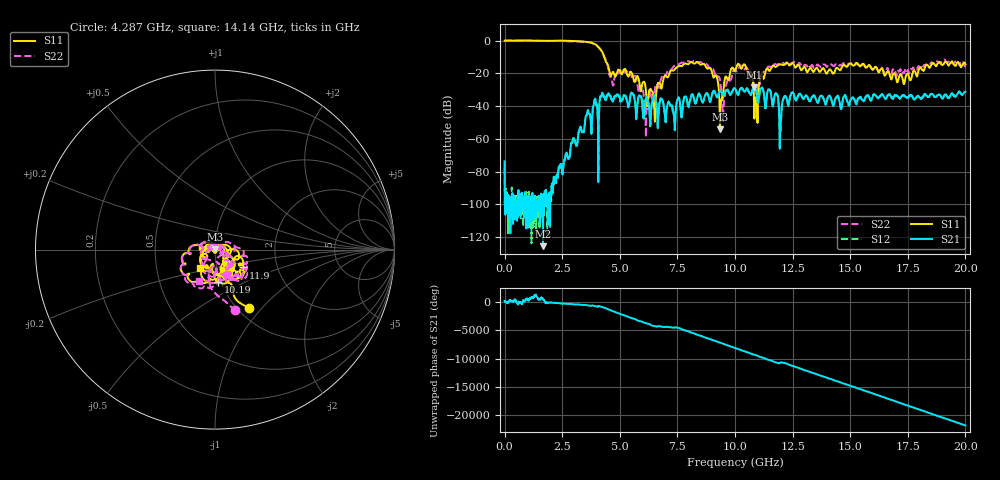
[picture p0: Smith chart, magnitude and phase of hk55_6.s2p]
#  HZ  S  RI  R  50.00
! Rohde & Schwarz Vector Network Analyzer
! Rohde-Schwarz,ZNB20-2Port,1311601062102128,3.60
! Created: UTC 4/29/2024, 3:44:41 PM
! freq[Hz]  re:S11  im:S11  re:S21  im:S21  re:S12  im:S12  re:S22  im:S22
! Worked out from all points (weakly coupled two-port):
!   2007 points, 100 kHz to 20 GHz, reference 50 ohm
!   highest |S21| = -28.47 dB at 10.83 GHz (marker M1); lowest = -125.6 dB at 1.665 GHz (marker M2)
!   lowest |S11| = -54.3 dB at 9.342 GHz (marker M3), VSWR 1.00, Z = 50.1 + j0.168 ohm
!   |S11| at or under -10 dB: 4.327 GHz to end of sweep
!   |S22| runs from -59.0 to 0.1 dB; largest |S21 - S12| = 0.0019
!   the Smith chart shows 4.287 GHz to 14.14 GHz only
!   S11 on the Smith chart (normalised r, x): 4.287 GHz: 1.13, -0.86; 10.19 GHz: 0.97, -0.36; 11.9 GHz: 1.34, -0.28; 14.14 GHz: 0.83, -0.17
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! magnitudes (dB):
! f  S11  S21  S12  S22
! 100 kHz  0.0  -73.8  -77.5  0.1
! 1.665 GHz  -0.1  -125.6  -93.9  -0.2
! 2.463 GHz  0.0  -76.0  -75.7  -0.3
! 3.34 GHz  -0.6  -55.3  -55.1  -0.6
! 4.287 GHz  -8.5  -33.3  -33.4  -8.9
! 4.656 GHz  -20.2  -35.7  -35.7  -23.6
! 5.653 GHz  -25.1  -36.7  -36.9  -21.6
! 6.132 GHz  -30.5  -35.3  -35.4  -59.0
! 6.67 GHz  -25.8  -46.8  -46.8  -28.0
! 8.375 GHz  -13.1  -34.3  -34.3  -13.5
! 9.173 GHz  -21.3  -33.2  -33.3  -22.6
! 9.342 GHz  -54.3  -30.8  -30.9  -23.6
! 9.502 GHz  -29.1  -33.1  -33.1  -42.2
! 10 GHz  -18.6  -29.4  -29.4  -17.5
! 10.19 GHz  -15.0  -30.8  -30.8  -16.2
! 10.83 GHz  -38.4  -28.5  -28.5  -28.4
! 11.79 GHz  -15.9  -32.3  -32.3  -14.7
! 11.9 GHz  -14.6  -40.8  -40.7  -14.4
! 13.34 GHz  -17.9  -34.6  -34.6  -15.0
! 14.14 GHz  -17.6  -34.3  -34.3  -14.3
! 16.67 GHz  -19.1  -33.0  -33.0  -18.9
! 20 GHz  -14.5  -31.2  -31.2  -15.2
